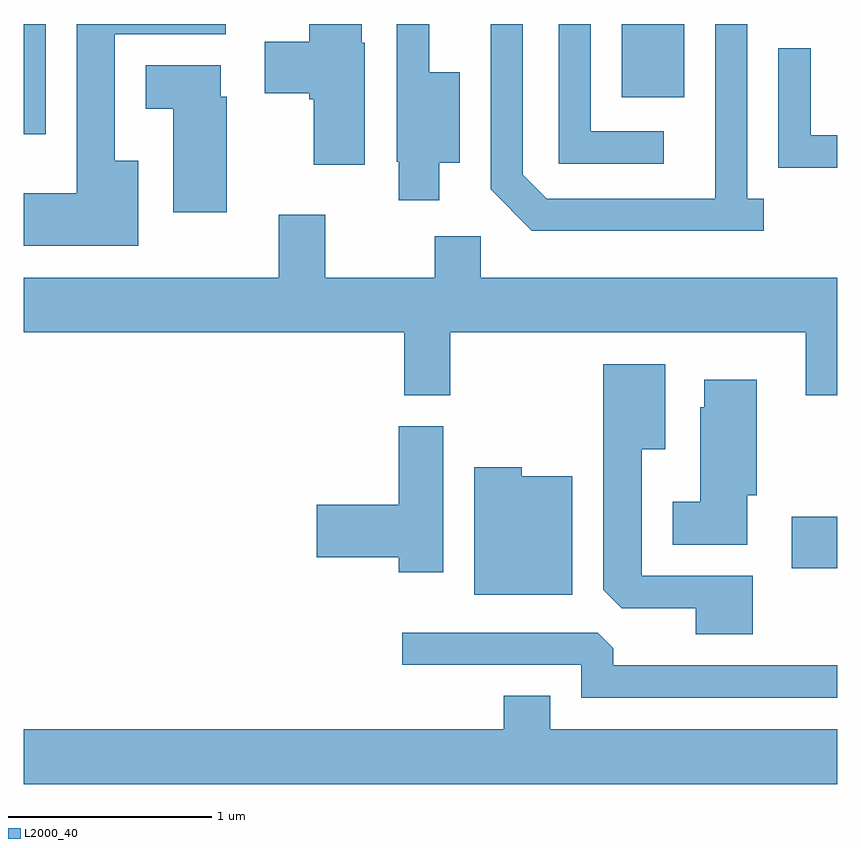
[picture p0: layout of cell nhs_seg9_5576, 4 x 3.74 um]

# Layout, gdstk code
import gdstk
lib = gdstk.Library(unit=1e-6, precision=1e-09)
def R(c, l, rs):  # rectangles x0, y0, x1, y1
    for r in rs: c.add(gdstk.rectangle(r[:2], r[2:], *l))
def P(c, l, *ps):  # polygons
    for p in ps: c.add(gdstk.Polygon(p, *l))
L2000_40 = (2000, 40)

nhs_seg9_5576 = lib.new_cell('nhs_seg9_5576')
R(nhs_seg9_5576, L2000_40, [(353.386,2001.756,353.611,2002.009), (349.611,2003.891,349.719,2004.432), (352.551,2004.071,352.859,2004.432)])
P(nhs_seg9_5576, L2000_40, [(350.174,2003.759),(350.059,2003.759),(350.059,2004.381),(350.604,2004.381),(350.604,2004.432),(349.871,2004.432),(349.871,2003.599),(349.611,2003.599),(349.611,2003.341),(350.174,2003.341)],
  [(351.289,2004.34),(351.274,2004.34),(351.274,2004.432),(351.016,2004.432),(351.016,2004.344),(350.796,2004.344),(350.796,2004.091),(351.016,2004.091),(351.016,2004.061),(351.036,2004.061),(351.036,2003.741),(351.289,2003.741)],
  [(353.248,2003.574),(353.169,2003.574),(353.169,2004.432),(353.011,2004.432),(353.011,2003.574),(352.182,2003.574),(352.064,2003.692),(352.064,2004.432),(351.906,2004.432),(351.906,2003.619),(352.109,2003.416),(353.248,2003.416)],
  [(351.654,2003.751),(351.754,2003.751),(351.754,2004.194),(351.604,2004.194),(351.604,2004.432),(351.446,2004.432),(351.446,2003.755),(351.456,2003.755),(351.456,2003.566),(351.654,2003.566)],
  [(352.758,2003.904),(352.399,2003.904),(352.399,2004.432),(352.241,2004.432),(352.241,2003.746),(352.758,2003.746)],
  [(353.611,2003.884),(353.479,2003.884),(353.479,2004.313),(353.321,2004.313),(353.321,2003.726),(353.611,2003.726)],
  [(350.609,2004.074),(350.579,2004.074),(350.579,2004.229),(350.211,2004.229),(350.211,2004.016),(350.346,2004.016),(350.346,2003.506),(350.609,2003.506)],
  [(351.709,2002.916),(353.456,2002.916),(353.456,2002.606),(353.611,2002.606),(353.611,2003.184),(351.859,2003.184),(351.859,2003.389),(351.631,2003.389),(351.631,2003.184),(351.094,2003.184),(351.094,2003.494),(350.866,2003.494),(350.866,2003.184),(349.611,2003.184),(349.611,2002.916),(351.481,2002.916),(351.481,2002.606),(351.709,2002.606)],
  [(353.194,2001.719),(352.649,2001.719),(352.649,2002.341),(352.764,2002.341),(352.764,2002.759),(352.461,2002.759),(352.461,2001.652),(352.552,2001.561),(352.916,2001.561),(352.916,2001.431),(353.194,2001.431)],
  [(353.169,2002.116),(353.214,2002.116),(353.214,2002.684),(352.956,2002.684),(352.956,2002.549),(352.936,2002.549),(352.936,2002.084),(352.801,2002.084),(352.801,2001.871),(353.169,2001.871)],
  [(351.674,2002.454),(351.456,2002.454),(351.456,2002.069),(351.051,2002.069),(351.051,2001.811),(351.456,2001.811),(351.456,2001.736),(351.674,2001.736)],
  [(352.309,2002.209),(352.059,2002.209),(352.059,2002.254),(351.826,2002.254),(351.826,2001.626),(352.309,2001.626)],
  [(353.611,2001.279),(352.509,2001.279),(352.509,2001.364),(352.434,2001.439),(351.473,2001.439),(351.473,2001.281),(352.351,2001.281),(352.351,2001.121),(353.611,2001.121)],
  [(353.611,2000.964),(352.199,2000.964),(352.199,2001.129),(351.971,2001.129),(351.971,2000.964),(349.611,2000.964),(349.611,2000.696),(353.611,2000.696)])

lib.write_gds('nhs_seg9_5576.gds')
